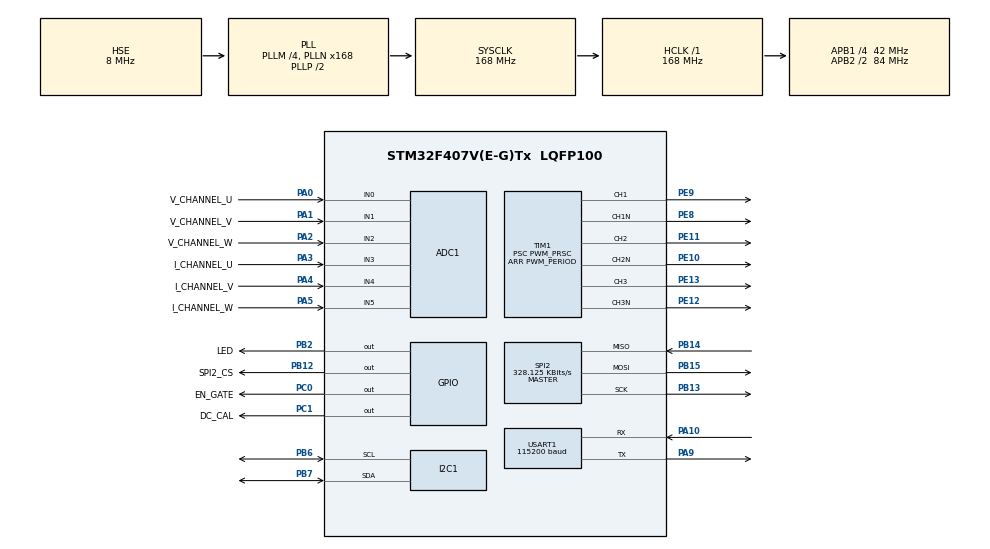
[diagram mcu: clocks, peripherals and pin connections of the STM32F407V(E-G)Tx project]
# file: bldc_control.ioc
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ADC1.Channel-0\#ChannelRegularConversion=ADC_CHANNEL_0
ADC1.Channel-1\#ChannelRegularConversion=ADC_CHANNEL_1
ADC1.Channel-2\#ChannelRegularConversion=ADC_CHANNEL_2
ADC1.Channel-6\#ChannelInjectedConversion=ADC_CHANNEL_3
ADC1.Channel-7\#ChannelInjectedConversion=ADC_CHANNEL_4
ADC1.Channel-9\#ChannelInjectedConversion=ADC_CHANNEL_5
ADC1.ContinuousConvMode=DISABLE
ADC1.DMAContinuousRequests=DISABLE
ADC1.DiscontinuousConvMode=DISABLE
ADC1.EOCSelection=ADC_EOC_SINGLE_CONV
ADC1.ExternalTrigConv=ADC_SOFTWARE_START
ADC1.ExternalTrigConvEdge=ADC_EXTERNALTRIGCONVEDGE_NONE
ADC1.ExternalTrigInjecConv=ADC_EXTERNALTRIGINJECCONV_T1_TRGO
ADC1.InjNumberOfConversion=3
ADC1.InjectedConvMode=None
ADC1.InjectedOffset-6\#ChannelInjectedConversion=0
ADC1.InjectedOffset-7\#ChannelInjectedConversion=0
ADC1.InjectedOffset-9\#ChannelInjectedConversion=0
ADC1.InjectedRank-6\#ChannelInjectedConversion=1
ADC1.InjectedRank-7\#ChannelInjectedConversion=2
ADC1.InjectedRank-9\#ChannelInjectedConversion=3
ADC1.NbrOfConversion=3
ADC1.NbrOfConversionFlag=1
ADC1.Rank-0\#ChannelRegularConversion=1
ADC1.Rank-1\#ChannelRegularConversion=2
ADC1.Rank-2\#ChannelRegularConversion=3
ADC1.SamplingTime-0\#ChannelRegularConversion=ADC_SAMPLETIME_15CYCLES
ADC1.SamplingTime-1\#ChannelRegularConversion=ADC_SAMPLETIME_15CYCLES
ADC1.SamplingTime-2\#ChannelRegularConversion=ADC_SAMPLETIME_15CYCLES
ADC1.SamplingTime-6\#ChannelInjectedConversion=ADC_SAMPLETIME_3CYCLES
ADC1.SamplingTime-7\#ChannelInjectedConversion=ADC_SAMPLETIME_3CYCLES
ADC1.SamplingTime-9\#ChannelInjectedConversion=ADC_SAMPLETIME_3CYCLES
ADC1.ScanConvMode=ENABLE
ADC1.master=1
Dma.Request0=USART1_TX
Dma.USART1_TX.0.Direction=DMA_MEMORY_TO_PERIPH
Dma.USART1_TX.0.FIFOMode=DMA_FIFOMODE_DISABLE
Dma.USART1_TX.0.Instance=DMA2_Stream7
Dma.USART1_TX.0.MemDataAlignment=DMA_MDATAALIGN_BYTE
Dma.USART1_TX.0.MemInc=DMA_MINC_ENABLE
Dma.USART1_TX.0.Mode=DMA_NORMAL
Dma.USART1_TX.0.PeriphDataAlignment=DMA_PDATAALIGN_BYTE
Dma.USART1_TX.0.PeriphInc=DMA_PINC_DISABLE
Dma.USART1_TX.0.Priority=DMA_PRIORITY_LOW
I2C1.I2C_Mode=I2C_Standard
Mcu.Family=STM32F4
Mcu.Name=STM32F407V(E-G)Tx
Mcu.Package=LQFP100
Mcu.UserConstants=CKTIM,168000000;PWM_PRSC,0;PWM_FREQ,15000;PWM_PERIOD,(CKTIM/(2*PWM_FREQ*(PWM_PRSC+1)))
NVIC.ADC_IRQn=true\:0\:0\:false\:false\:true\:true\:true\:true
NVIC.DMA2_Stream7_IRQn=true\:4\:0\:true\:false\:true\:false\:true\:true
NVIC.PriorityGroup=NVIC_PRIORITYGROUP_4
NVIC.TIM2_IRQn=true\:1\:0\:true\:false\:true\:true\:true\:true
NVIC.USART1_IRQn=true\:4\:0\:true\:false\:true\:true\:true\:true
PA0-WKUP.GPIO_Label=V_CHANNEL_U
PA0-WKUP.Signal=ADCx_IN0
PA1.GPIO_Label=V_CHANNEL_V
PA1.Signal=ADCx_IN1
PA10.Mode=Asynchronous
PA10.Signal=USART1_RX
PA13.Mode=Serial_Wire
PA13.Signal=SYS_JTMS-SWDIO
PA14.Mode=Serial_Wire
PA14.Signal=SYS_JTCK-SWCLK
PA2.GPIO_Label=V_CHANNEL_W
PA2.Signal=ADCx_IN2
PA3.GPIO_Label=I_CHANNEL_U
PA3.Signal=ADCx_IN3
PA4.GPIO_Label=I_CHANNEL_V
PA4.Signal=ADCx_IN4
PA5.GPIO_Label=I_CHANNEL_W
PA5.Signal=ADCx_IN5
PA9.Mode=Asynchronous
PA9.Signal=USART1_TX
PB12.GPIO_Label=SPI2_CS
PB12.GPIO_ModeDefaultOutputPP=GPIO_MODE_OUTPUT_PP
PB12.GPIO_PuPd=GPIO_PULLUP
PB12.GPIO_Speed=GPIO_SPEED_FREQ_VERY_HIGH
PB12.PinState=GPIO_PIN_SET
PB12.Signal=GPIO_Output
PB13.Mode=Full_Duplex_Master
PB13.Signal=SPI2_SCK
PB14.Mode=Full_Duplex_Master
PB14.Signal=SPI2_MISO
PB15.Mode=Full_Duplex_Master
PB15.Signal=SPI2_MOSI
PB2.GPIO_Label=LED
PB2.GPIO_PuPd=GPIO_PULLUP
PB2.GPIO_Speed=GPIO_SPEED_FREQ_HIGH
PB2.PinState=GPIO_PIN_SET
PB2.Signal=GPIO_Output
PB6.GPIO_Pu=GPIO_NOPULL
PB6.Mode=I2C
PB6.Signal=I2C1_SCL
PB7.GPIO_Pu=GPIO_NOPULL
PB7.Mode=I2C
PB7.Signal=I2C1_SDA
PC0.GPIO_Label=EN_GATE
PC0.GPIO_PuPd=GPIO_PULLUP
PC0.GPIO_Speed=GPIO_SPEED_FREQ_VERY_HIGH
PC0.PinState=GPIO_PIN_RESET
PC0.Signal=GPIO_Output
PC1.GPIO_Label=DC_CAL
PC1.GPIO_PuPd=GPIO_PULLUP
PC1.GPIO_Speed=GPIO_SPEED_FREQ_VERY_HIGH
PC1.PinState=GPIO_PIN_RESET
PC1.Signal=GPIO_Output
PE10.Mode=PWM Generation2 CH2 CH2N
PE10.Signal=TIM1_CH2N
PE11.Signal=S_TIM1_CH2
PE12.Mode=PWM Generation3 CH3 CH3N
PE12.Signal=TIM1_CH3N
PE13.Signal=S_TIM1_CH3
PE8.Mode=PWM Generation1 CH1 CH1N
PE8.Signal=TIM1_CH1N
PE9.Signal=S_TIM1_CH1
PH0-OSC_IN.Mode=HSE-External-Oscillator
PH0-OSC_IN.Signal=RCC_OSC_IN
PH1-OSC_OUT.Mode=HSE-External-Oscillator
PH1-OSC_OUT.Signal=RCC_OSC_OUT
ProjectManager.HeapSize=0x1000
ProjectManager.StackSize=0x1000
ProjectManager.TargetToolchain=MDK-ARM V5.32
RCC.48MHZClocksFreq_Value=84000000
RCC.AHBFreq_Value=168000000
RCC.APB1CLKDivider=RCC_HCLK_DIV4
RCC.APB1Freq_Value=42000000
RCC.APB1TimFreq_Value=84000000
RCC.APB2CLKDivider=RCC_HCLK_DIV2
RCC.APB2Freq_Value=84000000
RCC.APB2TimFreq_Value=168000000
RCC.CortexFreq_Value=168000000
RCC.HCLKFreq_Value=168000000
RCC.HSE_VALUE=8000000
RCC.HSI_VALUE=16000000
RCC.LSE_VALUE=32768
RCC.PLLM=4
RCC.PLLN=168
RCC.PLLSourceVirtual=RCC_PLLSOURCE_HSE
RCC.SYSCLKFreq_VALUE=168000000
RCC.SYSCLKSource=RCC_SYSCLKSOURCE_PLLCLK
RCC.VCOOutputFreq_Value=336000000
SH.ADCx_IN0.0=ADC1_IN0,IN0
SH.ADCx_IN1.0=ADC1_IN1,IN1
SH.ADCx_IN2.0=ADC1_IN2,IN2
SH.ADCx_IN3.0=ADC1_IN3,IN3
SH.ADCx_IN4.0=ADC1_IN4,IN4
SH.ADCx_IN5.0=ADC1_IN5,IN5
SH.S_TIM1_CH1.0=TIM1_CH1,PWM Generation1 CH1 CH1N
SH.S_TIM1_CH2.0=TIM1_CH2,PWM Generation2 CH2 CH2N
SH.S_TIM1_CH3.0=TIM1_CH3,PWM Generation3 CH3 CH3N
SPI2.BaudRatePrescaler=SPI_BAUDRATEPRESCALER_128
SPI2.CLKPhase=SPI_PHASE_2EDGE
SPI2.CLKPolarity=SPI_POLARITY_LOW
SPI2.CalculateBaudRate=328.125 KBits/s
SPI2.DataSize=SPI_DATASIZE_16BIT
SPI2.Direction=SPI_DIRECTION_2LINES
SPI2.Mode=SPI_MODE_MASTER
SPI2.VirtualType=VM_MASTER
TIM1.AutoReloadPreload=TIM_AUTORELOAD_PRELOAD_ENABLE
TIM1.BreakState=TIM_BREAK_DISABLE
TIM1.Channel-PWM\ Generation1\ CH1\ CH1N=TIM_CHANNEL_1
TIM1.Channel-PWM\ Generation2\ CH2\ CH2N=TIM_CHANNEL_2
TIM1.Channel-PWM\ Generation3\ CH3\ CH3N=TIM_CHANNEL_3
TIM1.Channel-PWM\ Generation4\ No\ Output=TIM_CHANNEL_4
TIM1.ClockDivision=TIM_CLOCKDIVISION_DIV1
TIM1.CounterMode=TIM_COUNTERMODE_CENTERALIGNED1
TIM1.DeadTime=84
TIM1.LockLevel=TIM_LOCKLEVEL_OFF
TIM1.OCIdleState_2=TIM_OCIDLESTATE_RESET
TIM1.OCIdleState_3=TIM_OCIDLESTATE_RESET
TIM1.OCMode_PWM-PWM\ Generation4\ No\ Output=TIM_OCMODE_PWM2
TIM1.OCNIdleState_1=TIM_OCNIDLESTATE_SET
TIM1.OCNIdleState_2=TIM_OCNIDLESTATE_SET
TIM1.OCNIdleState_3=TIM_OCNIDLESTATE_SET
TIM1.OCNPolarity_1=TIM_OCNPOLARITY_HIGH
TIM1.OCNPolarity_2=TIM_OCNPOLARITY_HIGH
TIM1.OCNPolarity_3=TIM_OCNPOLARITY_HIGH
TIM1.Period=PWM_PERIOD
TIM1.Prescaler=PWM_PRSC
TIM1.Pulse-PWM\ Generation1\ CH1\ CH1N=PWM_PERIOD / 2 - 1
TIM1.Pulse-PWM\ Generation2\ CH2\ CH2N=PWM_PERIOD / 2 - 1
TIM1.Pulse-PWM\ Generation3\ CH3\ CH3N=PWM_PERIOD / 2 - 1
TIM1.Pulse-PWM\ Generation4\ No\ Output=PWM_PERIOD - 168
TIM1.RepetitionCounter=1
TIM1.TIM_MasterOutputTrigger=TIM_TRGO_OC4REF
TIM1.TIM_MasterSlaveMode=TIM_MASTERSLAVEMODE_ENABLE
TIM2.Period=249
TIM2.Prescaler=84 - 1
TIM2.TIM_MasterOutputTrigger=TIM_TRGO_UPDATE
USART1.BaudRate=115200
USART1.VirtualMode=VM_ASYNC
VP_TIM1_VS_ClockSourceINT.Mode=Internal
VP_TIM1_VS_no_output4.Mode=PWM Generation4 No Output
VP_TIM2_VS_ClockSourceINT.Mode=Internal
board=custom

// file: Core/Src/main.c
/* USER CODE BEGIN Header */
/**
  ******************************************************************************
  * @file           : main.c
  * @brief          : Main program body
  ******************************************************************************
  * @attention
  *
  * Copyright (c) 2026 STMicroelectronics.
  * All rights reserved.
  *
  * This software is licensed under terms that can be found in the LICENSE file
  * in the root directory of this software component.
  * If no LICENSE file comes with this software, it is provided AS-IS.
  *
  ******************************************************************************
  */
/* USER CODE END Header */
#include "main.h"
#include "adc.h"
#include "dma.h"
#include "i2c.h"
#include "spi.h"
#include "tim.h"
#include "usart.h"
#include "gpio.h"

/* USER CODE BEGIN Includes */
#include "delay.h"
#include "drv8301.h"
#include "foc_app.h"
#include "log.h"
#include "SguanFOC.h"

/* USER CODE END Includes */

void SystemClock_Config(void);

int main(void)
{

  /* MCU Configuration--------------------------------------------------------*/

  /* Reset of all peripherals, Initializes the Flash interface and the Systick. */
  HAL_Init();

  /* Configure the system clock */
  SystemClock_Config();

  /* Initialize all configured peripherals */
  MX_GPIO_Init();
  MX_DMA_Init();
  MX_ADC1_Init();
  MX_TIM1_Init();
  MX_TIM2_Init();
  MX_USART1_UART_Init();
  MX_SPI2_Init();
  MX_I2C1_Init();
  /* USER CODE BEGIN 2 */
  /*
   * 排查日志挂 USART1（115200-8N1，PA9/PA10），必须在 MX_USART1_UART_Init() 之后、
   * 任何 CAW_LOG_* 之前初始化；CAW_LOG_Write() 不判空，未初始化就调用会卡死在等待 READY。
   * 发送是阻塞的（约 10 ms/行），只能在 while(1) 上下文调用，严禁进 ADC/TIM2 中断。
   * 日志格式串一律 ASCII：armcc(AC5) 按系统代码页解码源码，UTF-8 中文会吞掉后续引号。
   */
  CAW_LOG_Init(&huart1, LEVEL_DEBUG, false);
  CAW_LOG_INFO("==== BLDC boot: peripherals ready, HCLK=%lu Hz ====",
               (unsigned long)HAL_RCC_GetHCLKFreq());
  /* AS5600 写 CONF 后的建立等待用 delay_us()，必须早于 FocApp_Init() */
  delay_init();
  /*
   * 装配应用层并把 Sguan.status 写成 0x01。外设的实际启动（DRV8301 / AS5600 /
   * TIM2 / TIM1 六路 PWM / ADC 注入组）在 while(1) 的 Sguan_Start_Tick() ->
   * User_InitialInit() -> FocApp_HwStart() 里完成，那里允许阻塞等待。
   */
  FocApp_Init();
  CAW_LOG_INFO("FocApp_Init done: mode=%u status=%u speed_cmd=%.1f rad/s, enter main loop",
               (unsigned)Sguan.mode, (unsigned)Sguan.status, (double)FocApp_SpeedCmd_RadS);
  /* USER CODE END 2 */

  /* Infinite loop */
  while (1)
  {

    /* USER CODE BEGIN 3 */
    /* 上电初始化与标定（仅 status==0x01 时执行一次）；JustFloat 上报已关闭 */
    SguanFOC_main_Loop();
    /* 10 Hz 自限速：DRV8301 / AS5600 状态轮询，只置故障标志 */
    FocApp_DiagnoseLoop();
  }

  /* USER CODE END 3 */
}

void SystemClock_Config(void)
{
  RCC_OscInitTypeDef RCC_OscInitStruct = {0};
  RCC_ClkInitTypeDef RCC_ClkInitStruct = {0};

  /** Configure the main internal regulator output voltage
  */
  __HAL_RCC_PWR_CLK_ENABLE();
  __HAL_PWR_VOLTAGESCALING_CONFIG(PWR_REGULATOR_VOLTAGE_SCALE1);
  /** Initializes the RCC Oscillators according to the specified parameters
  * in the RCC_OscInitTypeDef structure.
  */
  RCC_OscInitStruct.OscillatorType = RCC_OSCILLATORTYPE_HSE;
  RCC_OscInitStruct.HSEState = RCC_HSE_ON;
  RCC_OscInitStruct.PLL.PLLState = RCC_PLL_ON;
  RCC_OscInitStruct.PLL.PLLSource = RCC_PLLSOURCE_HSE;
  RCC_OscInitStruct.PLL.PLLM = 4;
  RCC_OscInitStruct.PLL.PLLN = 168;
  RCC_OscInitStruct.PLL.PLLP = RCC_PLLP_DIV2;
  RCC_OscInitStruct.PLL.PLLQ = 4;
  if (HAL_RCC_OscConfig(&RCC_OscInitStruct) != HAL_OK)
  {
    Error_Handler();
  }
  /** Initializes the CPU, AHB and APB buses clocks
  */
  RCC_ClkInitStruct.ClockType = RCC_CLOCKTYPE_HCLK|RCC_CLOCKTYPE_SYSCLK
                              |RCC_CLOCKTYPE_PCLK1|RCC_CLOCKTYPE_PCLK2;
  RCC_ClkInitStruct.SYSCLKSource = RCC_SYSCLKSOURCE_PLLCLK;
  RCC_ClkInitStruct.AHBCLKDivider = RCC_SYSCLK_DIV1;
  RCC_ClkInitStruct.APB1CLKDivider = RCC_HCLK_DIV4;
  RCC_ClkInitStruct.APB2CLKDivider = RCC_HCLK_DIV2;

  if (HAL_RCC_ClockConfig(&RCC_ClkInitStruct, FLASH_LATENCY_5) != HAL_OK)
  {
    Error_Handler();
  }
}

/* USER CODE BEGIN 4 */
/*
 * HAL 的 I2C / ADC / TIM / UART 回调统一放在 Core/Src/foc_app.c，
 * 应用层持有 AS5600 实例，本文件只负责启动序列与主循环调度。
 */

/* USER CODE END 4 */

void Error_Handler(void)
{
  /* USER CODE BEGIN Error_Handler_Debug */
  /* 挂起前先硬关断栅极。MX_GPIO_Init() 已把 EN_GATE 配成推挽输出并置低，
     更早的阶段引脚仍是复位后的浮空输入，由驱动器自身下拉保证关断 */
  DRV8301_Shutdown();
  __disable_irq();
  while (1)
  {

  }
  /* USER CODE END Error_Handler_Debug */
}
